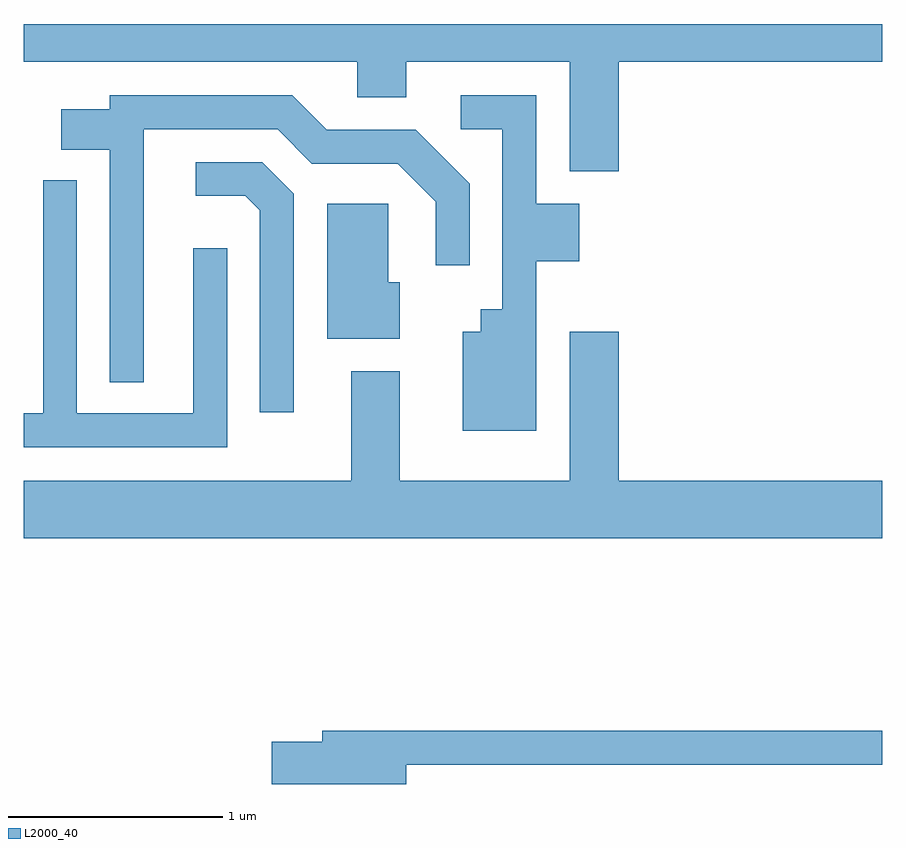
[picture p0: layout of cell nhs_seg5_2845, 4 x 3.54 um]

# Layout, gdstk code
import gdstk
lib = gdstk.Library(unit=1e-6, precision=1e-09)
def P(c, l, *ps):  # polygons
    for p in ps: c.add(gdstk.Polygon(p, *l))
L2000_40 = (2000, 40)

nhs_seg5_2845 = lib.new_cell('nhs_seg5_2845')
P(nhs_seg5_2845, L2000_40, [(272.384,1467.896),(273.611,1467.896),(273.611,1468.072),(269.611,1468.072),(269.611,1467.896),(271.166,1467.896),(271.166,1467.731),(271.394,1467.731),(271.394,1467.896),(272.156,1467.896),(272.156,1467.386),(272.384,1467.386)],
  [(271.999,1466.966),(272.199,1466.966),(272.199,1467.234),(271.999,1467.234),(271.999,1467.739),(271.648,1467.739),(271.648,1467.581),(271.841,1467.581),(271.841,1466.744),(271.741,1466.744),(271.741,1466.639),(271.656,1466.639),(271.656,1466.176),(271.999,1466.176)],
  [(270.169,1467.581),(270.794,1467.581),(270.954,1467.421),(271.354,1467.421),(271.531,1467.244),(271.531,1466.948),(271.689,1466.948),(271.689,1467.327),(271.437,1467.579),(271.022,1467.579),(270.862,1467.739),(270.011,1467.739),(270.011,1467.674),(269.786,1467.674),(269.786,1467.486),(270.011,1467.486),(270.011,1466.403),(270.169,1466.403)],
  [(270.869,1467.282),(270.722,1467.429),(270.413,1467.429),(270.413,1467.271),(270.644,1467.271),(270.711,1467.204),(270.711,1466.263),(270.869,1466.263)],
  [(270.559,1467.028),(270.401,1467.028),(270.401,1466.259),(269.859,1466.259),(269.859,1467.343),(269.701,1467.343),(269.701,1466.259),(269.611,1466.259),(269.611,1466.101),(270.559,1466.101)],
  [(271.364,1466.869),(271.309,1466.869),(271.309,1467.234),(271.026,1467.234),(271.026,1466.606),(271.364,1466.606)],
  [(273.611,1465.944),(272.384,1465.944),(272.384,1466.639),(272.156,1466.639),(272.156,1465.944),(271.364,1465.944),(271.364,1466.454),(271.136,1466.454),(271.136,1465.944),(269.611,1465.944),(269.611,1465.676),(273.611,1465.676)],
  [(271.394,1464.621),(273.611,1464.621),(273.611,1464.779),(271.001,1464.779),(271.001,1464.729),(270.766,1464.729),(270.766,1464.531),(271.394,1464.531)])

lib.write_gds('nhs_seg5_2845.gds')
